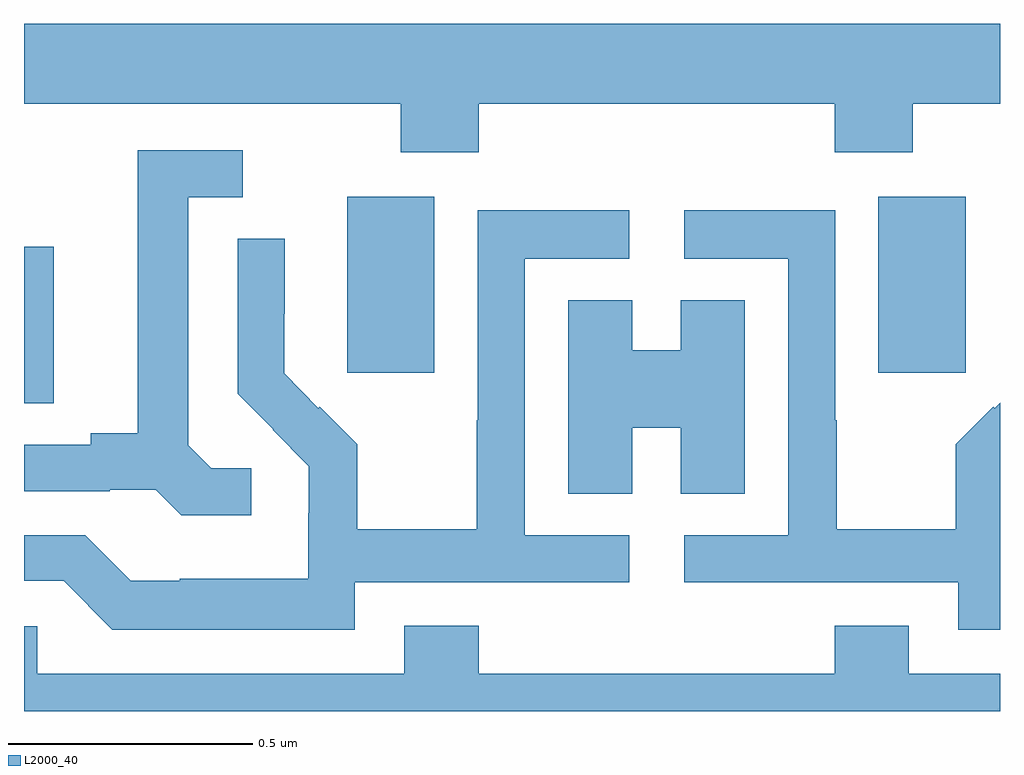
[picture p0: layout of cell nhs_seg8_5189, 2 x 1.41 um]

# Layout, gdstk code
import gdstk
lib = gdstk.Library(unit=1e-6, precision=1e-09)
def R(c, l, rs):  # rectangles x0, y0, x1, y1
    for r in rs: c.add(gdstk.rectangle(r[:2], r[2:], *l))
def P(c, l, *ps):  # polygons
    for p in ps: c.add(gdstk.Polygon(p, *l))
L2000_40 = (2000, 40)

nhs_seg8_5189 = lib.new_cell('nhs_seg8_5189')
R(nhs_seg8_5189, L2000_40, [(180,1138.531,180.061,1138.851), (180.662,1138.593,180.841,1138.954), (181.751,1138.593,181.93,1138.954)])
P(nhs_seg8_5189, L2000_40, [(180.932,1139.144),(181.661,1139.144),(181.661,1139.045),(181.821,1139.045),(181.821,1139.144),(182,1139.144),(182,1139.308),(180,1139.308),(180,1139.144),(180.772,1139.144),(180.772,1139.045),(180.932,1139.045)],
  [(180.466,1138.398),(180.384,1138.398),(180.337,1138.445),(180.337,1138.953),(180.448,1138.953),(180.448,1139.049),(180.233,1139.049),(180.233,1138.469),(180.137,1138.469),(180.137,1138.446),(180,1138.446),(180,1138.35),(180.176,1138.35),(180.176,1138.353),(180.27,1138.353),(180.322,1138.301),(180.466,1138.301)],
  [(182,1138.532),(181.989,1138.521),(181.986,1138.524),(181.909,1138.447),(181.909,1138.273),(181.665,1138.273),(181.665,1138.496),(181.662,1138.496),(181.662,1138.926),(181.353,1138.926),(181.353,1138.827),(181.566,1138.827),(181.566,1138.26),(181.353,1138.26),(181.353,1138.164),(181.914,1138.164),(181.914,1138.067),(182,1138.067)],
  [(180.678,1138.164),(181.24,1138.164),(181.24,1138.26),(181.026,1138.26),(181.026,1138.827),(181.24,1138.827),(181.24,1138.926),(180.93,1138.926),(180.93,1138.496),(180.928,1138.496),(180.928,1138.273),(180.683,1138.273),(180.683,1138.447),(180.606,1138.524),(180.603,1138.521),(180.533,1138.592),(180.533,1138.714),(180.534,1138.714),(180.534,1138.868),(180.438,1138.868),(180.438,1138.55),(180.511,1138.477),(180.51,1138.476),(180.584,1138.402),(180.584,1138.305),(180.582,1138.305),(180.582,1138.171),(180.319,1138.171),(180.319,1138.167),(180.219,1138.167),(180.126,1138.26),(180,1138.26),(180,1138.167),(180.081,1138.167),(180.181,1138.067),(180.678,1138.067)],
  [(181.246,1138.481),(181.346,1138.481),(181.346,1138.345),(181.477,1138.345),(181.477,1138.742),(181.346,1138.742),(181.346,1138.639),(181.246,1138.639),(181.246,1138.742),(181.115,1138.742),(181.115,1138.345),(181.246,1138.345)],
  [(182,1137.976),(181.813,1137.976),(181.813,1138.075),(181.661,1138.075),(181.661,1137.976),(180.932,1137.976),(180.932,1138.075),(180.779,1138.075),(180.779,1137.976),(180.027,1137.976),(180.027,1138.074),(180,1138.074),(180,1137.9),(182,1137.9)])

lib.write_gds('nhs_seg8_5189.gds')
